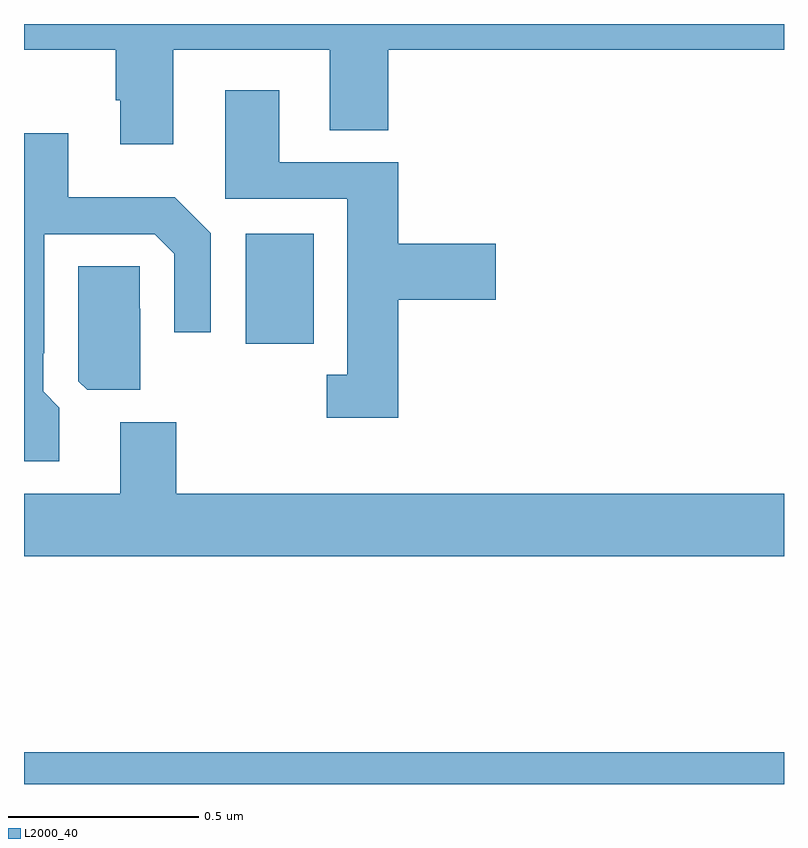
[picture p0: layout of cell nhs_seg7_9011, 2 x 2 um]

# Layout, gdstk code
import gdstk
lib = gdstk.Library(unit=1e-6, precision=1e-09)
def R(c, l, rs):  # rectangles x0, y0, x1, y1
    for r in rs: c.add(gdstk.rectangle(r[:2], r[2:], *l))
def P(c, l, *ps):  # polygons
    for p in ps: c.add(gdstk.Polygon(p, *l))
L2000_40 = (2000, 40)

nhs_seg7_9011 = lib.new_cell('nhs_seg7_9011')
R(nhs_seg7_9011, L2000_40, [(232,1016,234,1016.084), (232.583,1017.158,232.762,1017.448)])
P(nhs_seg7_9011, L2000_40, [(232.393,1017.932),(232.805,1017.932),(232.805,1017.721),(232.958,1017.721),(232.958,1017.932),(234,1017.932),(234,1018),(232,1018),(232,1017.932),(232.241,1017.932),(232.241,1017.799),(232.253,1017.799),(232.253,1017.684),(232.393,1017.684)],
  [(232.985,1017.275),(233.242,1017.275),(233.242,1017.422),(232.985,1017.422),(232.985,1017.636),(232.672,1017.636),(232.672,1017.826),(232.529,1017.826),(232.529,1017.54),(232.85,1017.54),(232.85,1017.077),(232.797,1017.077),(232.797,1016.964),(232.985,1016.964)],
  [(232.093,1016.99),(232.05,1017.033),(232.05,1017.133),(232.053,1017.133),(232.053,1017.447),(232.344,1017.447),(232.395,1017.396),(232.395,1017.189),(232.491,1017.189),(232.491,1017.45),(232.397,1017.544),(232.117,1017.544),(232.117,1017.712),(232,1017.712),(232,1016.85),(232.093,1016.85)],
  [(232.306,1017.251),(232.305,1017.251),(232.305,1017.362),(232.143,1017.362),(232.143,1017.06),(232.167,1017.037),(232.306,1017.037)],
  [(234,1016.764),(232.401,1016.764),(232.401,1016.952),(232.253,1016.952),(232.253,1016.764),(232,1016.764),(232,1016.6),(234,1016.6)])

lib.write_gds('nhs_seg7_9011.gds')
